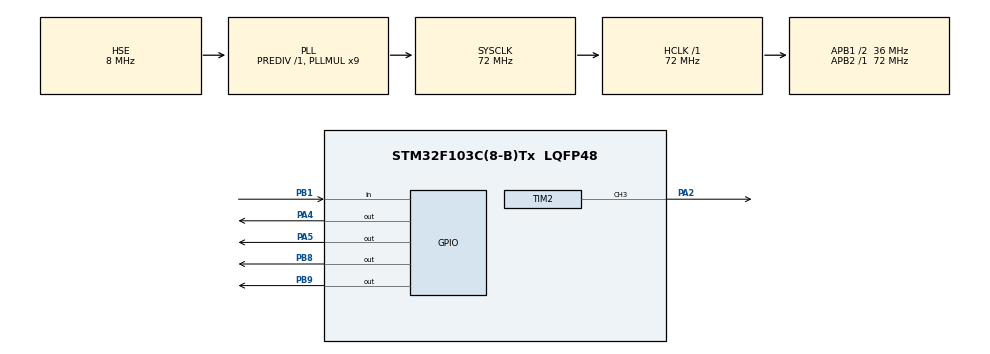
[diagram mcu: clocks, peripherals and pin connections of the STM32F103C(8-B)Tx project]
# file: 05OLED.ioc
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Mcu.Family=STM32F1
Mcu.Name=STM32F103C(8-B)Tx
Mcu.Package=LQFP48
NVIC.PriorityGroup=NVIC_PRIORITYGROUP_4
PA13.Mode=Serial_Wire
PA13.Signal=SYS_JTMS-SWDIO
PA14.Mode=Serial_Wire
PA14.Signal=SYS_JTCK-SWCLK
PA2.Signal=S_TIM2_CH3
PA4.Signal=GPIO_Output
PA5.Signal=GPIO_Output
PB1.GPIO_PuPd=GPIO_PULLUP
PB1.Signal=GPIO_Input
PB8.GPIO_ModeDefaultOutputPP=GPIO_MODE_OUTPUT_OD
PB8.GPIO_PuPd=GPIO_PULLUP
PB8.PinState=GPIO_PIN_SET
PB8.Signal=GPIO_Output
PB9.GPIO_ModeDefaultOutputPP=GPIO_MODE_OUTPUT_OD
PB9.GPIO_PuPd=GPIO_PULLUP
PB9.PinState=GPIO_PIN_SET
PB9.Signal=GPIO_Output
PD0-OSC_IN.Mode=HSE-External-Oscillator
PD0-OSC_IN.Signal=RCC_OSC_IN
PD1-OSC_OUT.Mode=HSE-External-Oscillator
PD1-OSC_OUT.Signal=RCC_OSC_OUT
ProjectManager.HeapSize=0x200
ProjectManager.StackSize=0x400
ProjectManager.TargetToolchain=MDK-ARM V5.32
RCC.AHBFreq_Value=72000000
RCC.APB1CLKDivider=RCC_HCLK_DIV2
RCC.APB1Freq_Value=36000000
RCC.APB1TimFreq_Value=72000000
RCC.APB2Freq_Value=72000000
RCC.APB2TimFreq_Value=72000000
RCC.HCLKFreq_Value=72000000
RCC.PLLMUL=RCC_PLL_MUL9
RCC.PLLSourceVirtual=RCC_PLLSOURCE_HSE
RCC.SYSCLKFreq_VALUE=72000000
RCC.SYSCLKSource=RCC_SYSCLKSOURCE_PLLCLK
RCC.USBFreq_Value=72000000
SH.S_TIM2_CH3.0=TIM2_CH3,PWM Generation3 CH3
TIM2.Channel-PWM\ Generation3\ CH3=TIM_CHANNEL_3
TIM2.Period=100-1
TIM2.Prescaler=72-1
VP_TIM2_VS_ClockSourceINT.Mode=Internal
board=custom

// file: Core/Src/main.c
/* USER CODE BEGIN Header */
/**
  ******************************************************************************
  * @file           : main.c
  * @brief          : Main program body
  ******************************************************************************
  * @attention
  *
  * Copyright (c) 2025 STMicroelectronics.
  * All rights reserved.
  *
  * This software is licensed under terms that can be found in the LICENSE file
  * in the root directory of this software component.
  * If no LICENSE file comes with this software, it is provided AS-IS.
  *
  ******************************************************************************
  */
/* USER CODE END Header */
#include "main.h"
#include "tim.h"
#include "gpio.h"

/* USER CODE BEGIN Includes */
// ���OLEDͷ�ļ�
#include "OLED.h"

/* USER CODE END Includes */

/* USER CODE BEGIN PV */
  void SetSpeed(int16_t Speed)
  {
	  /*如果速度>=0，则PA4(AIN1)为高电平，PA5(AIN2)为低电平，正转*/
	  /*反之如果速度<0，则PA4(AIN1)为低电平，PA5(AIN2)为高电平，反转*/
	  if(Speed >=0 )
	  {
		  HAL_GPIO_WritePin(GPIOA, GPIO_PIN_4, GPIO_PIN_SET);
		  HAL_GPIO_WritePin(GPIOA, GPIO_PIN_5, GPIO_PIN_RESET);
		  __HAL_TIM_SET_COMPARE(&htim2, TIM_CHANNEL_3, Speed);
	  }
	  else
	  {
		  HAL_GPIO_WritePin(GPIOA, GPIO_PIN_4, GPIO_PIN_RESET);
		  HAL_GPIO_WritePin(GPIOA, GPIO_PIN_5, GPIO_PIN_SET);
		  __HAL_TIM_SET_COMPARE(&htim2, TIM_CHANNEL_3, -Speed);  //-Speed,负负取正
	  }

  }

/* USER CODE END PV */

void SystemClock_Config(void);

/* USER CODE BEGIN 0 */

int16_t Speed = 0;

/* USER CODE END 0 */

int main(void)
{

  /* MCU Configuration--------------------------------------------------------*/

  /* Reset of all peripherals, Initializes the Flash interface and the Systick. */
  HAL_Init();

  /* Configure the system clock */
  SystemClock_Config();

  /* Initialize all configured peripherals */
  MX_GPIO_Init();
  MX_TIM2_Init();
  /* USER CODE BEGIN 2 */
  OLED_Init();
  OLED_Clear();

  HAL_TIM_PWM_Start(&htim2, TIM_CHANNEL_3);

  OLED_ShowString(1, 1, "Speed");
  /* USER CODE END 2 */

  /* Infinite loop */
  /* USER CODE BEGIN WHILE */
  while (1)
  {
	  if(HAL_GPIO_ReadPin(GPIOB, GPIO_PIN_1) == GPIO_PIN_RESET)
	  {
		  HAL_Delay(20);
		  while(HAL_GPIO_ReadPin(GPIOB, GPIO_PIN_1) == GPIO_PIN_RESET);
		  HAL_Delay(20);
		  Speed += 1;
		  if(Speed > 2)
		  {
			  Speed = - 2;
		  }
	  }
	  SetSpeed(Speed * 50);
	  OLED_ShowSignedNum(1, 8, Speed * 50, 3);
    /* USER CODE END WHILE */

  }
}

void SystemClock_Config(void)
{
  RCC_OscInitTypeDef RCC_OscInitStruct = {0};
  RCC_ClkInitTypeDef RCC_ClkInitStruct = {0};

  /** Initializes the RCC Oscillators according to the specified parameters
  * in the RCC_OscInitTypeDef structure.
  */
  RCC_OscInitStruct.OscillatorType = RCC_OSCILLATORTYPE_HSE;
  RCC_OscInitStruct.HSEState = RCC_HSE_ON;
  RCC_OscInitStruct.HSEPredivValue = RCC_HSE_PREDIV_DIV1;
  RCC_OscInitStruct.HSIState = RCC_HSI_ON;
  RCC_OscInitStruct.PLL.PLLState = RCC_PLL_ON;
  RCC_OscInitStruct.PLL.PLLSource = RCC_PLLSOURCE_HSE;
  RCC_OscInitStruct.PLL.PLLMUL = RCC_PLL_MUL9;
  if (HAL_RCC_OscConfig(&RCC_OscInitStruct) != HAL_OK)
  {
    Error_Handler();
  }

  /** Initializes the CPU, AHB and APB buses clocks
  */
  RCC_ClkInitStruct.ClockType = RCC_CLOCKTYPE_HCLK|RCC_CLOCKTYPE_SYSCLK
                              |RCC_CLOCKTYPE_PCLK1|RCC_CLOCKTYPE_PCLK2;
  RCC_ClkInitStruct.SYSCLKSource = RCC_SYSCLKSOURCE_PLLCLK;
  RCC_ClkInitStruct.AHBCLKDivider = RCC_SYSCLK_DIV1;
  RCC_ClkInitStruct.APB1CLKDivider = RCC_HCLK_DIV2;
  RCC_ClkInitStruct.APB2CLKDivider = RCC_HCLK_DIV1;

  if (HAL_RCC_ClockConfig(&RCC_ClkInitStruct, FLASH_LATENCY_2) != HAL_OK)
  {
    Error_Handler();
  }
}

void Error_Handler(void)
{
  __disable_irq();
  while (1)
  {
  }
}
